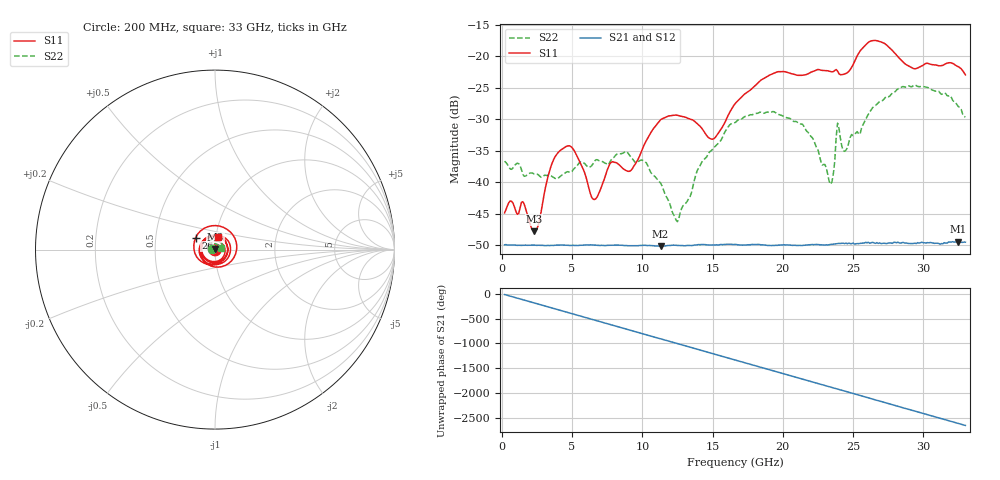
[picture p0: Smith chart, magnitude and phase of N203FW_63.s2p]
# GHZ S RI R 50
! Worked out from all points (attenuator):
!   329 points, 200 MHz to 33 GHz, reference 50 ohm
!   highest |S21| = -49.46 dB at 32.5 GHz (marker M1); lowest = -50.2 dB at 11.3 GHz (marker M2)
!   lowest |S11| = -47.8 dB at 2.3 GHz (marker M3), VSWR 1.01, Z = 50.1 + j0.382 ohm
!   |S11| at or under -10 dB: start of sweep to end of sweep
!   |S22| runs from -46.3 to -24.5 dB; largest |S21 - S12| = 8.7e-05
!   S11 on the Smith chart (normalised r, x): 200 MHz: 1.01, -0.00; 26 GHz: 0.80, +0.11; 33 GHz: 1.03, +0.14
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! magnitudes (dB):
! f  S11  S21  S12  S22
! 200 MHz  -44.9  -50.0  -49.9  -36.7
! 1.5 GHz  -43.1  -50.0  -50.0  -38.7
! 2.3 GHz  -47.8  -50.0  -50.0  -38.7
! 3.9 GHz  -35.6  -50.0  -50.0  -39.5
! 5.7 GHz  -37.5  -50.0  -50.0  -36.8
! 6.6 GHz  -42.8  -50.0  -50.0  -36.7
! 7.8 GHz  -36.8  -50.0  -50.0  -36.4
! 8.9 GHz  -38.2  -50.1  -50.1  -35.2
! 11.2 GHz  -30.3  -50.2  -50.1  -39.9
! 11.3 GHz  -30.1  -50.2  -50.1  -40.1
! 12.5 GHz  -29.4  -50.1  -50.1  -46.3
! 15 GHz  -33.2  -50.0  -50.0  -34.8
! 16.6 GHz  -27.5  -49.9  -49.9  -30.5
! 19.3 GHz  -22.7  -50.1  -50.1  -28.8
! 22.1 GHz  -22.4  -49.9  -49.9  -32.9
! 23.4 GHz  -22.4  -49.9  -49.9  -40.3
! 23.9 GHz  -22.3  -49.8  -49.8  -30.6
! 24.4 GHz  -22.8  -49.8  -49.7  -35.1
! 26 GHz  -17.9  -49.6  -49.6  -29.6
! 27.6 GHz  -18.6  -49.6  -49.7  -26.3
! 32.5 GHz  -21.6  -49.5  -49.4  -28.0
! 33 GHz  -22.9  -49.5  -49.6  -29.6
